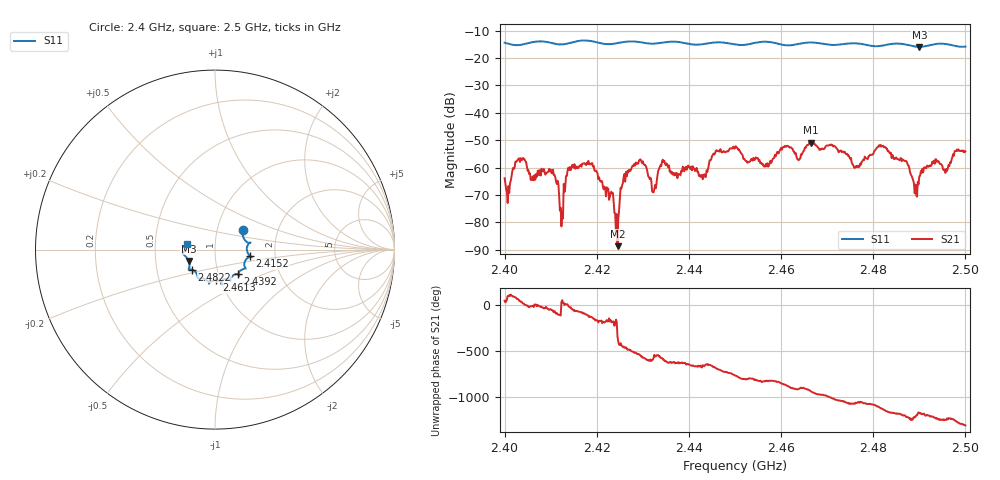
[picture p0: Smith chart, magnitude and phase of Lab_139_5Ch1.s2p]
# Hz S RI R 50
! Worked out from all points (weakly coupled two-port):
!   601 points, 2.4 GHz to 2.5 GHz, reference 50 ohm
!   highest |S21| = -50.86 dB at 2.4665 GHz (marker M1); lowest = -88.7 dB at 2.4245 GHz (marker M2)
!   lowest |S11| = -15.9 dB at 2.49 GHz (marker M3), VSWR 1.38, Z = 36.9 - j4.83 ohm
!   |S11| at or under -10 dB: start of sweep to end of sweep
!   S12 and S22 are empty: the file has one direction only
!   S11 on the Smith chart (normalised r, x): 2.4 GHz: 1.33, +0.31; 2.4152 GHz: 1.48, -0.11; 2.4392 GHz: 1.23, -0.35; 2.4613 GHz: 0.96, -0.34; 2.4822 GHz: 0.76, -0.17; 2.5 GHz: 0.73, +0.05
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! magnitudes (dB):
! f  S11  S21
! 2.4 GHz  -14.4  -63.9
! 2.4035 GHz  -15.2  -56.6
! 2.41 GHz  -14.4  -60.7
! 2.4123 GHz  -15.0  -81.5
! 2.4152 GHz  -14.0  -58.8
! 2.4167 GHz  -13.6  -59.7
! 2.4245 GHz  -14.5  -88.7
! 2.4257 GHz  -14.2  -65.6
! 2.428 GHz  -13.9  -59.4
! 2.4323 GHz  -14.7  -69.0
! 2.4333 GHz  -14.6  -61.1
! 2.4392 GHz  -14.5  -60.0
! 2.45 GHz  -15.0  -52.9
! 2.4568 GHz  -14.0  -59.5
! 2.4613 GHz  -15.4  -52.0
! 2.4665 GHz  -14.3  -50.9
! 2.4667 GHz  -14.3  -51.1
! 2.4763 GHz  -14.6  -59.4
! 2.4822 GHz  -15.4  -52.0
! 2.4833 GHz  -15.0  -53.9
! 2.49 GHz  -15.9  -63.1
! 2.5 GHz  -15.8  -54.1
